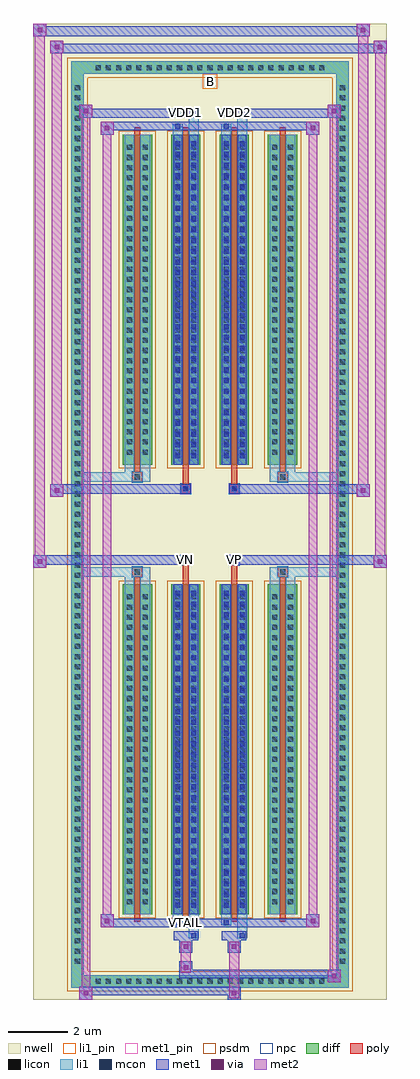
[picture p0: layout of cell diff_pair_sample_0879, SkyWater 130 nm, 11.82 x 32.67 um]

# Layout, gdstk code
import gdstk
lib = gdstk.Library(unit=1e-6, precision=5e-09)
def R(c, l, rs):  # rectangles x0, y0, x1, y1
    for r in rs: c.add(gdstk.rectangle(r[:2], r[2:], *l))
def A(c, l, x, y, w, h, nx, ny, dx, dy):  # array of equal rectangles
    R(c, l, [(x+i*dx, y+j*dy, x+i*dx+w, y+j*dy+h) for i in range(nx) for j in range(ny)])
def P(c, l, *ps):  # polygons
    for p in ps: c.add(gdstk.Polygon(p, *l))
nwell = (64, 20)
diff = (65, 20)
poly = (66, 20)
licon = (66, 44)
li1_pin = (67, 16)
li1 = (67, 20)
mcon = (67, 44)
met1_pin = (68, 16)
met1 = (68, 20)
via = (68, 44)
met2 = (69, 20)
psdm = (94, 20)
npc = (95, 20)

diff_pair_sample_0879 = lib.new_cell('diff_pair_sample_0879')
R(diff_pair_sample_0879, nwell, [(-5.91,-15.9,5.91,16.77), (-3.23,-14.09,-0.01,-0.825), (0.01,-14.09,3.23,-0.825), (-3.23,0.825,-0.01,14.09), (0.01,0.825,3.23,14.09)])
A(diff_pair_sample_0879, diff, -3.945, -15.5, 0.41, 0.41, 23, 2, 0.34, 30.59)
A(diff_pair_sample_0879, diff, -4.64, -14.825, 0.41, 0.41, 1, 87, 0, 0.34)
A(diff_pair_sample_0879, diff, 4.23, -14.825, 0.41, 0.41, 1, 87, 0, 0.34)
A(diff_pair_sample_0879, diff, -2.92, -13.045, 0.98, 11.04, 4, 2, 1.62, 15.05)
R(diff_pair_sample_0879, diff, [(-3.945,-15.5,3.945,-15.09), (-4.64,-14.825,-4.23,14.825), (4.23,-14.825,4.64,14.825), (-3.945,15.09,3.945,15.5)])
P(diff_pair_sample_0879, diff, [(4.64,15.5),(-4.64,15.5),(-4.64,-15.09),(-4.23,-15.09),(-4.23,15.09),(4.23,15.09),(4.23,-15.09),(-4.23,-15.09),(-4.64,-15.09),(-4.64,-15.5),(4.64,-15.5)])
A(diff_pair_sample_0879, poly, -2.53, -13.295, 0.2, 11.54, 4, 2, 1.62, 15.05)
R(diff_pair_sample_0879, poly, [(-2.595,-1.755,-2.265,-1.425), (-2.595,-1.755,-2.265,-1.425), (-0.91,-1.755,-0.71,-1.355), (0.71,-1.755,0.91,-1.355), (2.265,-1.755,2.595,-1.425), (2.265,-1.755,2.595,-1.425), (-0.975,-1.355,-0.645,-1.025), (-0.975,-1.355,-0.645,-1.025), (0.645,-1.355,0.975,-1.025), (0.645,-1.355,0.975,-1.025), (-0.975,1.025,-0.645,1.355), (-0.975,1.025,-0.645,1.355), (0.645,1.025,0.975,1.355), (0.645,1.025,0.975,1.355), (-0.91,1.355,-0.71,1.755), (0.71,1.355,0.91,1.755), (-2.595,1.425,-2.265,1.755), (-2.595,1.425,-2.265,1.755), (2.265,1.425,2.595,1.755), (2.265,1.425,2.595,1.755)])
A(diff_pair_sample_0879, licon, -3.825, -15.38, 0.17, 0.17, 23, 2, 0.34, 30.59)
A(diff_pair_sample_0879, licon, -4.52, -14.705, 0.17, 0.17, 1, 87, 0, 0.34)
A(diff_pair_sample_0879, licon, 4.35, -14.705, 0.17, 0.17, 1, 87, 0, 0.34)
A(diff_pair_sample_0879, licon, -2.78, -12.71, 0.17, 0.17, 1, 31, 0, 0.34)
A(diff_pair_sample_0879, licon, -2.25, -12.71, 0.17, 0.17, 1, 31, 0, 0.34)
A(diff_pair_sample_0879, licon, -1.16, -12.71, 0.17, 0.17, 1, 31, 0, 0.34)
A(diff_pair_sample_0879, licon, -0.63, -12.71, 0.17, 0.17, 1, 31, 0, 0.34)
A(diff_pair_sample_0879, licon, 0.46, -12.71, 0.17, 0.17, 1, 31, 0, 0.34)
A(diff_pair_sample_0879, licon, 0.99, -12.71, 0.17, 0.17, 1, 31, 0, 0.34)
A(diff_pair_sample_0879, licon, 2.08, -12.71, 0.17, 0.17, 1, 31, 0, 0.34)
A(diff_pair_sample_0879, licon, 2.61, -12.71, 0.17, 0.17, 1, 31, 0, 0.34)
A(diff_pair_sample_0879, licon, -2.78, 2.34, 0.17, 0.17, 1, 31, 0, 0.34)
A(diff_pair_sample_0879, licon, -2.25, 2.34, 0.17, 0.17, 1, 31, 0, 0.34)
A(diff_pair_sample_0879, licon, -1.16, 2.34, 0.17, 0.17, 1, 31, 0, 0.34)
A(diff_pair_sample_0879, licon, -0.63, 2.34, 0.17, 0.17, 1, 31, 0, 0.34)
A(diff_pair_sample_0879, licon, 0.46, 2.34, 0.17, 0.17, 1, 31, 0, 0.34)
A(diff_pair_sample_0879, licon, 0.99, 2.34, 0.17, 0.17, 1, 31, 0, 0.34)
A(diff_pair_sample_0879, licon, 2.08, 2.34, 0.17, 0.17, 1, 31, 0, 0.34)
A(diff_pair_sample_0879, licon, 2.61, 2.34, 0.17, 0.17, 1, 31, 0, 0.34)
R(diff_pair_sample_0879, licon, [(-2.515,-1.675,-2.345,-1.505), (2.345,-1.675,2.515,-1.505), (-0.895,-1.275,-0.725,-1.105), (0.725,-1.275,0.895,-1.105), (-0.895,1.105,-0.725,1.275), (0.725,1.105,0.895,1.275), (-2.515,1.505,-2.345,1.675), (2.345,1.505,2.515,1.675)])
R(diff_pair_sample_0879, li1_pin, [(-0.25,14.59,0.25,15.09)])
A(diff_pair_sample_0879, li1, -3.905, -15.46, 0.33, 0.33, 23, 2, 0.34, 30.59)
A(diff_pair_sample_0879, li1, -4.6, -14.785, 0.33, 0.33, 1, 87, 0, 0.34)
A(diff_pair_sample_0879, li1, 4.27, -14.785, 0.33, 0.33, 1, 87, 0, 0.34)
A(diff_pair_sample_0879, li1, -1.16, -12.83, 0.17, 0.17, 1, 30, 0, 0.36)
A(diff_pair_sample_0879, li1, -0.63, -12.83, 0.17, 0.17, 1, 30, 0, 0.36)
A(diff_pair_sample_0879, li1, 0.46, -12.83, 0.17, 0.17, 1, 30, 0, 0.36)
A(diff_pair_sample_0879, li1, 0.99, -12.83, 0.17, 0.17, 1, 30, 0, 0.36)
A(diff_pair_sample_0879, li1, -2.86, -12.79, 0.33, 0.33, 1, 31, 0, 0.34)
A(diff_pair_sample_0879, li1, -2.33, -12.79, 0.33, 0.33, 1, 31, 0, 0.34)
A(diff_pair_sample_0879, li1, -1.24, -12.79, 0.33, 0.33, 1, 31, 0, 0.34)
A(diff_pair_sample_0879, li1, -0.71, -12.79, 0.33, 0.33, 1, 31, 0, 0.34)
A(diff_pair_sample_0879, li1, 0.38, -12.79, 0.33, 0.33, 1, 31, 0, 0.34)
A(diff_pair_sample_0879, li1, 0.91, -12.79, 0.33, 0.33, 1, 31, 0, 0.34)
A(diff_pair_sample_0879, li1, 2, -12.79, 0.33, 0.33, 1, 31, 0, 0.34)
A(diff_pair_sample_0879, li1, 2.53, -12.79, 0.33, 0.33, 1, 31, 0, 0.34)
A(diff_pair_sample_0879, li1, -1.16, 2.22, 0.17, 0.17, 1, 30, 0, 0.36)
A(diff_pair_sample_0879, li1, -0.63, 2.22, 0.17, 0.17, 1, 30, 0, 0.36)
A(diff_pair_sample_0879, li1, 0.46, 2.22, 0.17, 0.17, 1, 30, 0, 0.36)
A(diff_pair_sample_0879, li1, 0.99, 2.22, 0.17, 0.17, 1, 30, 0, 0.36)
A(diff_pair_sample_0879, li1, -2.86, 2.26, 0.33, 0.33, 1, 31, 0, 0.34)
A(diff_pair_sample_0879, li1, -2.33, 2.26, 0.33, 0.33, 1, 31, 0, 0.34)
A(diff_pair_sample_0879, li1, -1.24, 2.26, 0.33, 0.33, 1, 31, 0, 0.34)
A(diff_pair_sample_0879, li1, -0.71, 2.26, 0.33, 0.33, 1, 31, 0, 0.34)
A(diff_pair_sample_0879, li1, 0.38, 2.26, 0.33, 0.33, 1, 31, 0, 0.34)
A(diff_pair_sample_0879, li1, 0.91, 2.26, 0.33, 0.33, 1, 31, 0, 0.34)
A(diff_pair_sample_0879, li1, 2, 2.26, 0.33, 0.33, 1, 31, 0, 0.34)
A(diff_pair_sample_0879, li1, 2.53, 2.26, 0.33, 0.33, 1, 31, 0, 0.34)
R(diff_pair_sample_0879, li1, [(-4.64,-15.5,-4.23,-15.09), (-4.64,-15.5,-4.23,-15.09), (-4.23,-15.5,4.23,-15.09), (4.23,-15.5,4.64,-15.09), (4.23,-15.5,4.64,-15.09), (-4.64,-15.09,-4.23,15.09), (4.23,-15.09,4.64,15.09), (-0.71,-13.85,-0.38,-13.045), (-0.63,-13.85,-0.46,-13.68), (0.91,-13.85,1.24,-13.045), (0.99,-13.85,1.16,-13.68), (-1.24,-13.42,-0.91,-13.045), (-1.16,-13.42,-0.99,-13.25), (0.38,-13.42,0.71,-13.045), (0.46,-13.42,0.63,-13.25), (-2.86,-13.045,-2.53,-2.005), (-2.33,-13.045,-2,-2.005), (-1.24,-13.045,-0.91,-2.005), (-0.71,-13.045,-0.38,-2.005), (0.38,-13.045,0.71,-2.005), (0.91,-13.045,1.24,-2.005), (2,-13.045,2.33,-2.005), (2.53,-13.045,2.86,-2.005), (-1.16,-12.83,-0.99,-2.22), (-0.63,-12.83,-0.46,-2.22), (0.46,-12.83,0.63,-2.22), (0.99,-12.83,1.16,-2.22), (-2.86,-2.005,-2.53,-1.425), (-2.33,-2.005,-2,-1.425), (2,-2.005,2.33,-1.425), (2.53,-2.005,2.86,-1.425), (-4.64,-1.755,-2.595,-1.425), (-2.86,-1.755,-2.595,-1.425), (-2.595,-1.755,-2.265,-1.425), (-2.265,-1.755,-2,-1.425), (2,-1.755,2.265,-1.425), (2.265,-1.755,2.595,-1.425), (2.265,-1.755,4.64,-1.425), (2.595,-1.755,2.86,-1.425), (-0.975,-1.355,-0.645,-1.025), (0.645,-1.355,0.975,-1.025), (-0.975,1.025,-0.645,1.355), (0.645,1.025,0.975,1.355), (-4.64,1.425,-2.595,1.755), (-2.86,1.425,-2.595,1.755), (-2.86,1.425,-2.53,2.005), (-2.595,1.425,-2.265,1.755), (-2.33,1.425,-2,2.005), (-2.265,1.425,-2,1.755), (2,1.425,2.265,1.755), (2,1.425,2.33,2.005), (2.265,1.425,2.595,1.755), (2.265,1.425,4.64,1.755), (2.53,1.425,2.86,2.005), (2.595,1.425,2.86,1.755), (-2.86,2.005,-2.53,13.045), (-2.33,2.005,-2,13.045), (-1.24,2.005,-0.91,13.045), (-0.71,2.005,-0.38,13.045), (0.38,2.005,0.71,13.045), (0.91,2.005,1.24,13.045), (2,2.005,2.33,13.045), (2.53,2.005,2.86,13.045), (-1.16,2.22,-0.99,12.83), (-0.63,2.22,-0.46,12.83), (0.46,2.22,0.63,12.83), (0.99,2.22,1.16,12.83), (-1.24,13.045,-0.91,13.42), (-0.71,13.045,-0.38,13.85), (0.38,13.045,0.71,13.42), (0.91,13.045,1.24,13.85), (-1.16,13.25,-0.99,13.42), (0.46,13.25,0.63,13.42), (-0.63,13.68,-0.46,13.85), (0.99,13.68,1.16,13.85), (-4.64,15.09,-4.23,15.5), (-4.64,15.09,-4.23,15.5), (-4.23,15.09,4.23,15.5), (4.23,15.09,4.64,15.5), (4.23,15.09,4.64,15.5)])
A(diff_pair_sample_0879, mcon, -1.16, -12.83, 0.17, 0.17, 1, 30, 0, 0.36)
A(diff_pair_sample_0879, mcon, -0.63, -12.83, 0.17, 0.17, 1, 30, 0, 0.36)
A(diff_pair_sample_0879, mcon, 0.46, -12.83, 0.17, 0.17, 1, 30, 0, 0.36)
A(diff_pair_sample_0879, mcon, 0.99, -12.83, 0.17, 0.17, 1, 30, 0, 0.36)
A(diff_pair_sample_0879, mcon, -1.16, 2.22, 0.17, 0.17, 1, 30, 0, 0.36)
A(diff_pair_sample_0879, mcon, -0.63, 2.22, 0.17, 0.17, 1, 30, 0, 0.36)
A(diff_pair_sample_0879, mcon, 0.46, 2.22, 0.17, 0.17, 1, 30, 0, 0.36)
A(diff_pair_sample_0879, mcon, 0.99, 2.22, 0.17, 0.17, 1, 30, 0, 0.36)
R(diff_pair_sample_0879, mcon, [(-0.63,-13.85,-0.46,-13.68), (0.99,-13.85,1.16,-13.68), (-1.16,-13.42,-0.99,-13.25), (0.46,-13.42,0.63,-13.25), (-0.895,-1.275,-0.725,-1.105), (0.725,-1.275,0.895,-1.105), (-0.895,1.105,-0.725,1.275), (0.725,1.105,0.895,1.275), (-1.16,13.25,-0.99,13.42), (0.46,13.25,0.63,13.42), (-0.63,13.68,-0.46,13.85), (0.99,13.68,1.16,13.85)])
R(diff_pair_sample_0879, met1_pin, [(-0.945,-13.46,-0.675,-13.19), (-0.945,-1.295,-0.675,-1.025), (0.675,-1.295,0.945,-1.025), (-0.945,13.64,-0.675,13.91), (0.675,13.64,0.945,13.91)])
A(diff_pair_sample_0879, met1, -1.22, -12.89, 0.29, 0.29, 1, 30, 0, 0.36)
A(diff_pair_sample_0879, met1, -0.69, -12.89, 0.29, 0.29, 1, 30, 0, 0.36)
A(diff_pair_sample_0879, met1, 0.4, -12.89, 0.29, 0.29, 1, 30, 0, 0.36)
A(diff_pair_sample_0879, met1, 0.93, -12.89, 0.29, 0.29, 1, 30, 0, 0.36)
A(diff_pair_sample_0879, met1, -1.22, 2.16, 0.29, 0.29, 1, 30, 0, 0.36)
A(diff_pair_sample_0879, met1, -0.69, 2.16, 0.29, 0.29, 1, 30, 0, 0.36)
A(diff_pair_sample_0879, met1, 0.4, 2.16, 0.29, 0.29, 1, 30, 0, 0.36)
A(diff_pair_sample_0879, met1, 0.93, 2.16, 0.29, 0.29, 1, 30, 0, 0.36)
R(diff_pair_sample_0879, met1, [(-4.37,-15.9,-3.94,-15.47), (0.595,-15.9,1.025,-15.47), (-4.37,-15.76,1.025,-15.47), (3.94,-15.33,4.37,-14.9), (-1.025,-15.19,4.37,-14.9), (-1.025,-15.05,-0.595,-14.62), (-1.025,-14.34,-0.595,-13.91), (0.595,-14.34,1.025,-13.91), (-1.22,-13.91,-0.4,-13.62), (-0.69,-13.91,-0.4,-13.62), (0.4,-13.91,1.22,-13.62), (0.93,-13.91,1.22,-13.62), (-3.66,-13.48,-3.23,-13.05), (-3.66,-13.48,-1.22,-13.19), (-1.22,-13.48,-0.93,-13.19), (-1.22,-13.48,-0.4,-13.19), (-0.4,-13.48,0.4,-13.19), (0.4,-13.48,0.69,-13.19), (0.4,-13.48,1.22,-13.19), (1.22,-13.48,3.66,-13.19), (3.23,-13.48,3.66,-13.05), (-1.22,-13.045,-0.93,-2.005), (-0.69,-13.045,-0.4,-2.005), (0.4,-13.045,0.69,-2.005), (0.93,-13.045,1.22,-2.005), (-5.91,-1.455,-5.48,-1.025), (5.48,-1.455,5.91,-1.025), (-5.91,-1.355,-0.645,-1.025), (-0.975,-1.355,-0.645,-1.025), (0.645,-1.355,0.975,-1.025), (0.645,-1.355,5.91,-1.025), (-0.955,-1.335,-0.665,-1.045), (0.665,-1.335,0.955,-1.045), (-5.34,0.925,-4.91,1.355), (4.91,0.925,5.34,1.355), (-5.34,1.025,-0.975,1.355), (-0.975,1.025,-0.645,1.355), (0.645,1.025,0.975,1.355), (0.975,1.025,5.34,1.355), (-0.955,1.045,-0.665,1.335), (0.665,1.045,0.955,1.335), (-1.22,2.005,-0.93,13.045), (-0.69,2.005,-0.4,13.045), (0.4,2.005,0.69,13.045), (0.93,2.005,1.22,13.045), (-3.66,13.05,-3.23,13.48), (3.23,13.05,3.66,13.48), (-3.66,13.19,-1.22,13.48), (-1.22,13.19,-0.93,13.48), (-1.22,13.19,-0.4,13.48), (-0.4,13.19,0.4,13.48), (0.4,13.19,0.69,13.48), (0.4,13.19,1.22,13.48), (1.22,13.19,3.66,13.48), (-4.37,13.62,-3.94,14.05), (-4.37,13.62,-1.22,13.91), (-1.22,13.62,-0.4,13.91), (-0.69,13.62,-0.4,13.91), (0.4,13.62,1.22,13.91), (0.93,13.62,1.22,13.91), (1.22,13.62,4.37,13.91), (3.94,13.62,4.37,14.05), (-5.34,15.77,-4.91,16.2), (-5.34,15.77,-3.23,16.1), (-3.23,15.77,3.23,16.1), (3.23,15.77,5.91,16.1), (5.48,15.77,5.91,16.2), (-5.91,16.34,-5.48,16.77), (-5.91,16.34,-3.23,16.67), (-3.23,16.34,3.23,16.67), (3.23,16.34,5.34,16.67), (4.91,16.34,5.34,16.77)])
R(diff_pair_sample_0879, via, [(-4.23,-15.76,-4.08,-15.61), (0.735,-15.76,0.885,-15.61), (4.08,-15.19,4.23,-15.04), (-0.885,-14.91,-0.735,-14.76), (-0.885,-14.2,-0.735,-14.05), (0.735,-14.2,0.885,-14.05), (-3.52,-13.34,-3.37,-13.19), (3.37,-13.34,3.52,-13.19), (-5.77,-1.315,-5.62,-1.165), (5.62,-1.315,5.77,-1.165), (-5.2,1.065,-5.05,1.215), (5.05,1.065,5.2,1.215), (-3.52,13.19,-3.37,13.34), (3.37,13.19,3.52,13.34), (-4.23,13.76,-4.08,13.91), (4.08,13.76,4.23,13.91), (-5.2,15.91,-5.05,16.06), (5.62,15.91,5.77,16.06), (-5.77,16.48,-5.62,16.63), (5.05,16.48,5.2,16.63)])
R(diff_pair_sample_0879, met2, [(-4.37,-15.9,-3.94,-15.47), (-4.3,-15.9,-4.01,14.05), (-4.01,-15.9,-3.94,-15.47), (-4.32,-15.85,-3.99,-15.52), (0.645,-15.85,0.975,-15.52), (0.645,-15.52,0.975,-14.29), (3.94,-15.33,4.37,-14.9), (4.01,-15.33,4.3,14.05), (4.3,-15.33,4.37,-14.9), (3.99,-15.28,4.32,-14.95), (-0.975,-15,-0.645,-14.67), (-0.975,-14.67,-0.645,-14.29), (-0.975,-14.29,-0.645,-13.96), (0.645,-14.29,0.975,-13.96), (-3.66,-13.48,-3.23,-13.05), (-3.59,-13.48,-3.3,13.48), (-3.3,-13.48,-3.23,-13.05), (3.23,-13.48,3.66,-13.05), (3.3,-13.48,3.59,13.48), (3.59,-13.48,3.66,-13.05), (-3.61,-13.43,-3.28,-13.1), (3.28,-13.43,3.61,-13.1), (-5.91,-1.455,-5.48,-1.025), (-5.86,-1.455,-5.53,16.77), (-5.53,-1.455,-5.48,-1.025), (5.48,-1.455,5.91,-1.025), (5.53,-1.455,5.86,16.2), (5.86,-1.455,5.91,-1.025), (-5.86,-1.405,-5.53,-1.075), (5.53,-1.405,5.86,-1.075), (-5.34,0.925,-4.91,1.355), (-5.29,0.925,-4.96,16.2), (-4.96,0.925,-4.91,1.355), (4.91,0.925,5.34,1.355), (4.96,0.925,5.29,16.77), (5.29,0.925,5.34,1.355), (-5.29,0.975,-4.96,1.305), (4.96,0.975,5.29,1.305), (-3.66,13.05,-3.23,13.48), (-3.3,13.05,-3.23,13.48), (3.23,13.05,3.66,13.48), (3.59,13.05,3.66,13.48), (-3.61,13.1,-3.28,13.43), (3.28,13.1,3.61,13.43), (-4.37,13.62,-3.94,14.05), (-4.01,13.62,-3.94,14.05), (3.94,13.62,4.37,14.05), (4.3,13.62,4.37,14.05), (-4.32,13.67,-3.99,14), (3.99,13.67,4.32,14), (-5.34,15.77,-4.91,16.2), (-4.96,15.77,-4.91,16.2), (5.48,15.77,5.91,16.2), (5.86,15.77,5.91,16.2), (-5.29,15.82,-4.96,16.15), (5.53,15.82,5.86,16.15), (-5.91,16.34,-5.48,16.77), (-5.53,16.34,-5.48,16.77), (4.91,16.34,5.34,16.77), (5.29,16.34,5.34,16.77), (-5.86,16.39,-5.53,16.72), (4.96,16.39,5.29,16.72)])
A(diff_pair_sample_0879, psdm, -3.05, -13.175, 1.24, 11.3, 4, 2, 1.62, 15.05)
P(diff_pair_sample_0879, psdm, [(4.77,15.63),(-4.77,15.63),(-4.77,-14.96),(-4.1,-14.96),(-4.1,14.96),(4.1,14.96),(4.1,-14.96),(-4.1,-14.96),(-4.77,-14.96),(-4.77,-15.63),(4.77,-15.63)])
R(diff_pair_sample_0879, npc, [(-2.615,-1.775,-2.245,-1.405), (2.245,-1.775,2.615,-1.405), (-0.995,-1.375,-0.625,-1.005), (0.625,-1.375,0.995,-1.005), (-0.995,1.005,-0.625,1.375), (0.625,1.005,0.995,1.375), (-2.615,1.405,-2.245,1.775), (2.245,1.405,2.615,1.775)])
diff_pair_sample_0879.add(gdstk.Label('VTAIL', (-0.81,-13.325), layer=68, texttype=5))
diff_pair_sample_0879.add(gdstk.Label('VN', (-0.81,-1.16), layer=68, texttype=5))
diff_pair_sample_0879.add(gdstk.Label('VP', (0.81,-1.16), layer=68, texttype=5))
diff_pair_sample_0879.add(gdstk.Label('B', (0,14.84), layer=67, texttype=5))
diff_pair_sample_0879.add(gdstk.Label('VDD2', (0.81,13.775), layer=68, texttype=5))
diff_pair_sample_0879.add(gdstk.Label('VDD1', (-0.81,13.775), layer=68, texttype=5))

lib.write_gds('diff_pair_sample_0879.gds')
